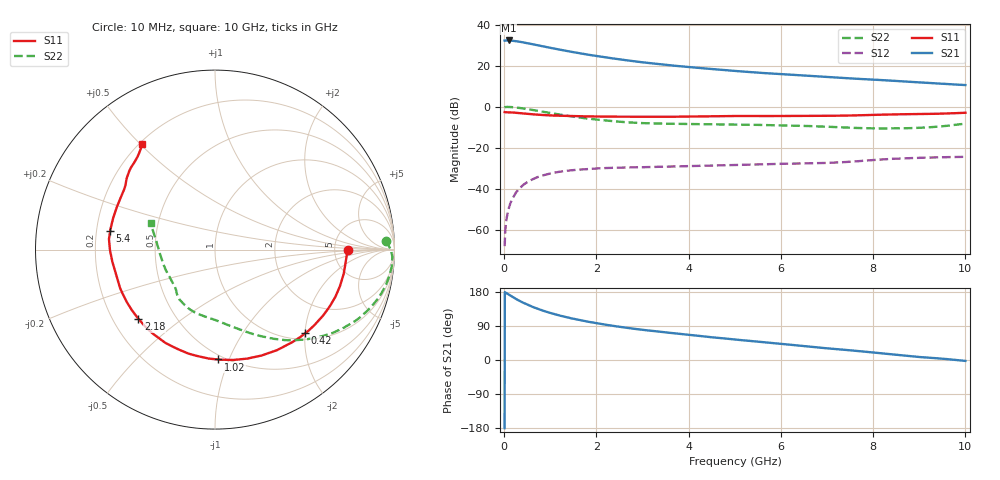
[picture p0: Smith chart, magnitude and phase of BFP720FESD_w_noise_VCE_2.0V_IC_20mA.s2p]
! Infineon Technologies  Discrete & RF Semiconductors
! BFP720FESD
! VCE =  2.0 V,  IC =  20 mA
! Common Emitter S-Parameters:  Jan 2016
# GHz  S  MA  R  50
!  f  S11  S21  S12  S22
! GHz  MAG  ANG  MAG  ANG  MAG  ANG  MAG  ANG
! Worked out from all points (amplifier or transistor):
!   233 points, 10 MHz to 10 GHz, reference 50 ohm
!   highest |S21| = 32.3 dB at 100 MHz (marker M1)
!   |S21| within 3 dB of that: start of sweep to 868.3 MHz
!   unconditionally stable (mu >= 1): 5.525 GHz to end of sweep
!   at 200 MHz: K = 0.08, MSG = 38.1 dB, |S12| = -44.0 dB
!   at 1.74 GHz: K = 0.44, MSG = 28.1 dB, |S12| = -30.5 dB
!   at 10 GHz: K = 1.19, MAG = 14.9 dB, |S12| = -24.4 dB
!   lowest NFmin = 0.95 dB at 450 MHz
!   S11 on the Smith chart (normalised r, x): 10 MHz: 6.71, -0.12; 420 MHz: 1.14, -2.01; 1.02 GHz: 0.47, -0.91; 2.18 GHz: 0.31, -0.35; 5.4 GHz: 0.26, +0.08; 10 GHz: 0.21, +0.51
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0.01  0.7406 -0.3  40.81 -179.9  0.0004 135.7  0.9552 3.0
0.02  0.7352 -2.2  41.02 178.6  0.0008 84.2  0.9805 -0.2
0.1  0.7296 -10.7  41.19 172.9  0.0033 84.8  0.989 -5.6
0.2  0.7204 -21.4  40.38 165.3  0.0063 79.9  0.9721 -11.7
0.26  0.7113 -27.5  39.44 160.8  0.0082 76.5  0.9565 -15.1
0.32  0.7015 -33.4  38.57 156.9  0.0099 73.8  0.9381 -18.3
0.42  0.6856 -42.8  36.81 150.8  0.0126 69.5  0.9046 -23.2
0.54  0.665 -53.3  34.63 144.0  0.0154 64.7  0.8612 -28.6
0.7  0.6446 -66.3  31.88 136.2  0.0188 59.2  0.8043 -35.2
0.86  0.6262 -77.8  29.28 129.5  0.0216 54.5  0.7496 -40.8
1.02  0.6124 -88.4  26.97 123.5  0.0239 50.4  0.6982 -46.0
1.32  0.5966 -105.3  23.25 113.7  0.0272 43.9  0.6145 -54.6
1.68  0.5846 -121.3  19.71 104.2  0.0297 38.3  0.5366 -63.1
2.18  0.5752 -137.9  16.05 93.5  0.0319 33.3  0.4642 -73.2
2.8  0.5708 -153.9  12.88 82.6  0.0334 29.5  0.4093 -84.4
3.4  0.568 -164.6  10.76 74.3  0.0343 29.0  0.3883 -91.6
4.1  0.5773 -174.6  9.062 65.2  0.0359 28.9  0.3778 -98.4
5.1  0.5932 173.2  7.302 52.9  0.0382 29.2  0.3655 -109.3
5.4  0.593 170.0  6.892 49.5  0.039 29.3  0.362 -112.1
6.8  0.5985 152.7  5.481 33.2  0.0423 31.0  0.3324 -128.3
8.4  0.6487 137.3  4.314 14.9  0.0536 32.8  0.2965 -156.7
10  0.7123 124.6  3.374 -2.4  0.0601 25.6  0.3876 157.8
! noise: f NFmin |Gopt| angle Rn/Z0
0.45  0.95  0.04  -26  0.11
2.4  0.98  0.01  142  0.12
5.5  1.11  0.17  145  0.11
10  1.56  0.29  -128  0.15
